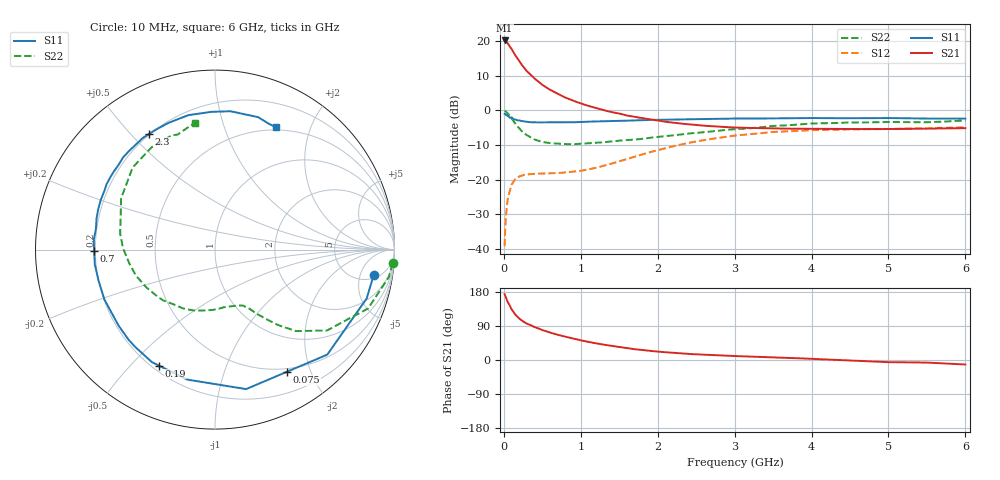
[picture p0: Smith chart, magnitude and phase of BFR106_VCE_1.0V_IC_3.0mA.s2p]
! Infineon Technologies  Discrete & RF Semiconductors
! BFR106
! VCE =  1.0 V,  IC =  3.0 mA
! Common Emitter S-Parameters:  Nov 2015
# GHz  S  MA  R  50
!  f  S11  S21  S12  S22
! GHz  MAG  ANG  MAG  ANG  MAG  ANG  MAG  ANG
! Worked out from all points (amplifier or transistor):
!   210 points, 10 MHz to 6 GHz, reference 50 ohm
!   highest |S21| = 20.2 dB at 10 MHz (marker M1)
!   |S21| within 3 dB of that: start of sweep to 114.8 MHz
!   unconditionally stable (mu >= 1): 686.3 MHz to end of sweep
!   at 185 MHz: K = 0.30, MSG = 17.0 dB, |S12| = -19.3 dB
!   at 1.52 GHz: K = 1.22, MAG = 3.9 dB, |S12| = -14.6 dB
!   at 6 GHz: K = 1.03, MAG = -1.1 dB, |S12| = -4.9 dB
!   S11 on the Smith chart (normalised r, x): 10 MHz: 6, -8; 75 MHz: 0.46, -1.65; 190 MHz: 0.23, -0.60; 700 MHz: 0.20, -0.00; 2.3 GHz: 0.20, +0.56; 6 GHz: 0.47, +1.51
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0.01  0.8956 -9.1  10.27 173.8  0.0109 86.2  0.9919 -4.4
0.02  0.8877 -17.9  10.18 169.0  0.0219 81.4  0.9809 -8.9
0.05  0.8566 -43.1  9.377 153.2  0.0512 66.9  0.9143 -21.0
0.075  0.7898 -59.6  8.451 144.4  0.0672 57.1  0.8346 -27.8
0.1  0.7963 -77.4  7.768 133.8  0.0844 51.1  0.7691 -35.9
0.15  0.7405 -102.0  6.244 119.0  0.1019 39.8  0.6394 -45.2
0.19  0.7178 -115.8  5.366 111.6  0.109 34.9  0.5661 -49.0
0.2  0.7188 -119.3  5.163 109.4  0.1109 33.8  0.5482 -50.1
0.26  0.6955 -133.9  4.18 100.5  0.1166 29.1  0.4715 -54.2
0.3  0.6842 -141.7  3.69 95.9  0.1188 27.3  0.4383 -56.2
0.4  0.676 -155.6  2.883 86.7  0.1216 25.1  0.3801 -59.9
0.5  0.6715 -165.1  2.341 79.0  0.1221 24.9  0.3495 -63.3
0.7  0.6735 -179.5  1.737 66.5  0.1244 28.3  0.3311 -71.7
0.8  0.6776 175.2  1.533 61.4  0.1267 30.8  0.3264 -76.4
1.02  0.6834 164.3  1.24 51.2  0.1354 38.1  0.3312 -87.4
1.4  0.7054 149.0  0.946 37.4  0.1699 48.7  0.3577 -108.0
2.02  0.7317 128.1  0.707 21.8  0.27 51.1  0.4156 -142.0
2.3  0.7419 119.7  0.646 17.4  0.3208 47.9  0.4483 -156.7
3.1  0.7627 99.3  0.561 9.8  0.4423 33.0  0.5422 166.5
4.1  0.7741 82.3  0.54 2.2  0.5209 14.2  0.6496 132.4
5.1  0.773 71.0  0.54 -5.9  0.5417 0.4  0.6792 110.3
6  0.7614 63.5  0.554 -11.9  0.5686 -8.9  0.7161 99.0
